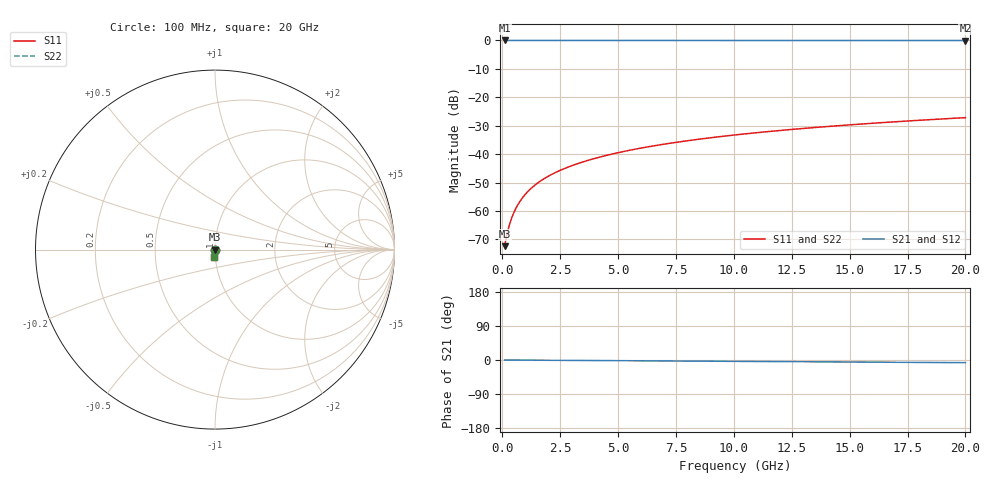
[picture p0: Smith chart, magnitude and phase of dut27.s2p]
! Touchstone file exported from HFSS 2026.1.0
!  File:  C:/ffzhzh/LocalFiles/Ansys_Project_Files/temp_train_TSV_27_1782958304_45308.aedt
!  Generated:  10:13:21 AM Jul  2, 2026
!  Design:  TSV
!  Project:  temp_train_TSV_27_1782958304_45308
! Variables:
!  h_bsmrdl = 2um
!  h_ox = 20um
!  h_rdl = 5um
!  h_sub = 70.24um
!  h_tmrdl = 5um
!  h_tsv = 70.24um
!  h_via = 3um
!  l_bsmrdl = 300um
!  l_sub = 415.92um
!  l_tmrdl = 200um
!  m_sub = 200um
!  pitch = 23.28um
!  r_tsv = 7.96um
!  s_tmrdl = 10um
!  w_bsmrdl = 18um
!  w_sub = 500um
!  w_tmrdl = 12um
!  x_tsv_center1 = 206um
!  x_tsv_center2 = 524um
!  x_tsv_center3 = 736um
!  x_tsv_center4 = 1054um
!  x_tsv_center5 = 1266um
!  x_tsv_center6 = 1584um
# GHz S MA R 50.000000
! Terminal data exported
! Port[1] = TSV1_1_T1
! Port[2] = TSV1_1_T2
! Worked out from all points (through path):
!   200 points, 100 MHz to 20 GHz, reference 50 ohm
!   highest |S21| = 0.00 dB at 100 MHz (marker M1); lowest = 0.0 dB at 20 GHz (marker M2)
!   lowest |S11| = -72.4 dB at 100 MHz (marker M3), VSWR 1.00, Z = 50 - j0.0164 ohm
!   |S11| at or under -10 dB: start of sweep to end of sweep
!   |S22| runs from -72.4 to -27.2 dB; largest |S21 - S12| = 4.3e-15
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0.1  0.0002407 -43.1  0.9998 -0.0  0.9998 -0.0  0.0002407 -43.1
! Gamma 0 0 0 0
! Port Impedance 50 0 50 0
0.2  0.0003863 -59.9  0.9998 -0.1  0.9998 -0.1  0.0003863 -59.9
0.3  0.0005575 -66.8  0.9998 -0.1  0.9998 -0.1  0.0005576 -66.8
0.4  0.0007431 -70.5  0.9997 -0.2  0.9997 -0.2  0.0007431 -70.5
0.5  0.0009386 -72.8  0.9997 -0.2  0.9997 -0.2  0.0009386 -72.8
0.6  0.001141 -74.5  0.9997 -0.2  0.9997 -0.2  0.001141 -74.5
0.8  0.001557 -77.0  0.9996 -0.3  0.9996 -0.3  0.001557 -77.0
1.1  0.002195 -79.6  0.9996 -0.4  0.9996 -0.4  0.002195 -79.6
1.3  0.002622 -80.8  0.9996 -0.5  0.9996 -0.5  0.002622 -80.8
1.5  0.00305 -81.8  0.9995 -0.5  0.9995 -0.5  0.00305 -81.8
1.8  0.003692 -82.9  0.9995 -0.7  0.9995 -0.7  0.003692 -82.9
2.1  0.004334 -83.8  0.9995 -0.8  0.9995 -0.8  0.004334 -83.8
2.7  0.005621 -85.0  0.9994 -1.0  0.9994 -1.0  0.005621 -85.0
3.5  0.007348 -86.1  0.9993 -1.3  0.9993 -1.3  0.007348 -86.1
4.2  0.008868 -86.8  0.9992 -1.5  0.9992 -1.5  0.008868 -86.8
5  0.01062 -87.5  0.9992 -1.8  0.9992 -1.8  0.01062 -87.5
6.8  0.01458 -88.7  0.999 -2.4  0.999 -2.4  0.01458 -88.7
8.3  0.0179 -89.6  0.9988 -2.9  0.9988 -2.9  0.0179 -89.6
10.1  0.02189 -90.6  0.9986 -3.6  0.9986 -3.6  0.02189 -90.6
13.4  0.02921 -92.2  0.9983 -4.7  0.9983 -4.7  0.02921 -92.2
16.7  0.03654 -93.6  0.9979 -5.9  0.9979 -5.9  0.03654 -93.6
20  0.04388 -94.9  0.9974 -7.1  0.9974 -7.1  0.04388 -94.9
